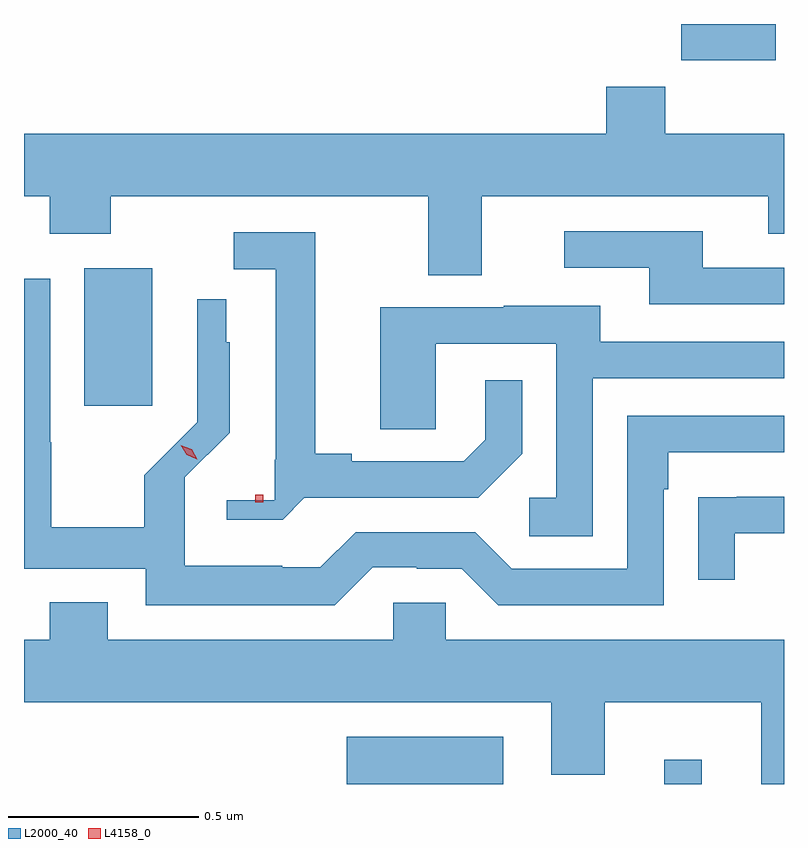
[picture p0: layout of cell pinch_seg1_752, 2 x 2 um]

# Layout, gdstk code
import gdstk
lib = gdstk.Library(unit=1e-6, precision=1e-09)
def R(c, l, rs):  # rectangles x0, y0, x1, y1
    for r in rs: c.add(gdstk.rectangle(r[:2], r[2:], *l))
def P(c, l, *ps):  # polygons
    for p in ps: c.add(gdstk.Polygon(p, *l))
L2000_40 = (2000, 40)
L4158_0 = (4158, 0)

pinch_seg1_752 = lib.new_cell('pinch_seg1_752')
R(pinch_seg1_752, L2000_40, [(657.744,540.861,658.156,540.985), (658.58,540.861,658.678,540.925), (657.053,541.856,657.232,542.218), (658.624,542.766,658.873,542.861)])
P(pinch_seg1_752, L2000_40, [(658.099,542.408),(658.853,542.408),(658.853,542.309),(658.895,542.309),(658.895,542.572),(658.583,542.572),(658.583,542.696),(658.427,542.696),(658.427,542.572),(656.895,542.572),(656.895,542.408),(656.963,542.408),(656.963,542.309),(657.123,542.309),(657.123,542.408),(657.959,542.408),(657.959,542.2),(658.099,542.2)],
  [(658.895,542.22),(658.681,542.22),(658.681,542.316),(658.317,542.316),(658.317,542.22),(658.541,542.22),(658.541,542.124),(658.895,542.124)],
  [(657.633,541.614),(658.09,541.614),(658.206,541.73),(658.206,541.924),(658.109,541.924),(658.109,541.767),(658.052,541.71),(657.757,541.71),(657.757,541.73),(657.661,541.73),(657.661,542.313),(657.447,542.313),(657.447,542.215),(657.557,542.215),(657.557,541.714),(657.555,541.714),(657.555,541.608),(657.429,541.608),(657.429,541.557),(657.576,541.557)],
  [(657.813,541.431),(657.929,541.431),(657.929,541.428),(658.047,541.428),(658.143,541.332),(658.578,541.332),(658.578,541.637),(658.591,541.637),(658.591,541.734),(658.895,541.734),(658.895,541.83),(658.482,541.83),(658.482,541.428),(658.179,541.428),(658.083,541.524),(657.768,541.524),(657.675,541.431),(657.575,541.431),(657.575,541.435),(657.318,541.435),(657.318,541.668),(657.436,541.786),(657.436,542.024),(657.427,542.024),(657.427,542.137),(657.351,542.137),(657.351,541.813),(657.211,541.673),(657.211,541.537),(656.967,541.537),(656.967,541.76),(656.964,541.76),(656.964,542.19),(656.895,542.19),(656.895,541.428),(657.216,541.428),(657.216,541.331),(657.713,541.331)],
  [(658.392,541.929),(658.895,541.929),(658.895,542.025),(658.411,542.025),(658.411,542.119),(658.157,542.119),(658.157,542.115),(657.833,542.115),(657.833,541.795),(657.978,541.795),(657.978,542.019),(658.296,542.019),(658.296,541.614),(658.224,541.614),(658.224,541.513),(658.392,541.513)],
  [(658.765,541.521),(658.895,541.521),(658.895,541.617),(658.771,541.617),(658.771,541.616),(658.669,541.616),(658.669,541.398),(658.765,541.398)],
  [(658.895,541.24),(658.005,541.24),(658.005,541.338),(657.867,541.338),(657.867,541.24),(657.115,541.24),(657.115,541.339),(656.963,541.339),(656.963,541.24),(656.895,541.24),(656.895,541.076),(658.283,541.076),(658.283,540.886),(658.423,540.886),(658.423,541.076),(658.835,541.076),(658.835,540.861),(658.895,540.861)])
R(pinch_seg1_752, L4158_0, [(657.504,541.602,657.524,541.622)])
P(pinch_seg1_752, L4158_0, [(657.35,541.716),(657.323,541.727),(657.308,541.753),(657.308,541.753),(657.308,541.753),(657.336,541.742),(657.351,541.716),(657.351,541.716)])

lib.write_gds('pinch_seg1_752.gds')
